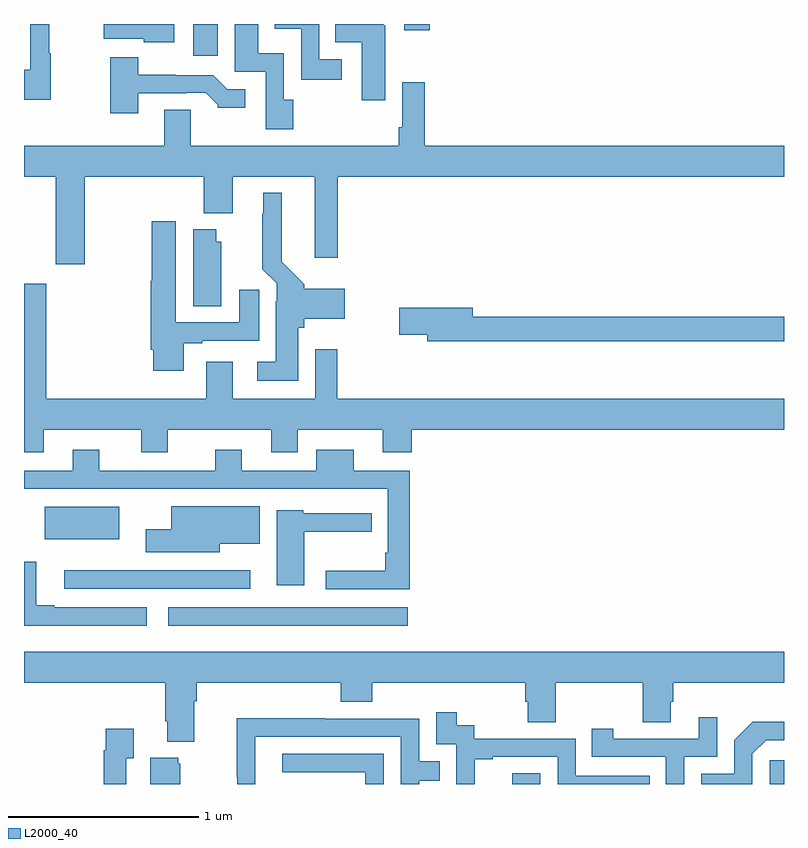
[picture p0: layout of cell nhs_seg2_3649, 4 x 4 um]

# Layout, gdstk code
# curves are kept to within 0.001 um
import gdstk
lib = gdstk.Library(unit=1e-6, precision=1e-09)
def R(c, l, rs):  # rectangles x0, y0, x1, y1
    for r in rs: c.add(gdstk.rectangle(r[:2], r[2:], *l))
def P(c, l, *ps):  # polygons
    for p in ps: c.add(gdstk.Polygon(p, *l))
L2000_40 = (2000, 40)

nhs_seg2_3649 = lib.new_cell('nhs_seg2_3649')
R(nhs_seg2_3649, L2000_40, [(305.571,617.8,305.718,617.857), (306.924,617.8,307,617.926), (303.759,618.632,305.02,618.729), (303.11,619.088,303.502,619.258), (303.89,621.633,304.021,621.8), (305,621.768,305.135,621.8)])
P(nhs_seg2_3649, L2000_40, [(304.672,621.615),(304.554,621.615),(304.554,621.8),(304.319,621.8),(304.319,621.776),(304.458,621.776),(304.458,621.507),(304.672,621.507)],
  [(304.9,621.79),(304.89,621.8),(304.639,621.8),(304.639,621.704),(304.778,621.704),(304.778,621.399),(304.9,621.399)],
  [(303.79,621.8),(303.42,621.8),(303.42,621.722),(303.63,621.722),(303.63,621.704),(303.79,621.704)],
  [(304.416,621.402),(304.368,621.402),(304.368,621.646),(304.234,621.646),(304.234,621.8),(304.109,621.8),(304.109,621.549),(304.272,621.549),(304.272,621.246),(304.416,621.246)],
  [(303.142,621.646),(303.134,621.646),(303.134,621.8),(303.033,621.8),(303.033,621.558),(303,621.558),(303,621.402),(303.142,621.402)],
  [(303.601,621.435),(303.857,621.435),(303.857,621.438),(303.956,621.438),(304.02,621.374),(304.02,621.359),(304.165,621.359),(304.165,621.456),(304.071,621.456),(303.996,621.531),(303.601,621.532),(303.601,621.625),(303.454,621.625),(303.454,621.33),(303.601,621.33)],
  [(303.321,620.996),(303.947,620.996),(303.947,620.804),(304.099,620.804),(304.099,620.996),(304.529,620.996),(304.529,620.571),(304.652,620.571),(304.652,620.996),(307,620.996),(307,621.16),(305.108,621.16),(305.108,621.493),(304.992,621.493),(304.992,621.256),(304.972,621.256),(304.972,621.16),(303.877,621.16),(303.877,621.35),(303.737,621.35),(303.737,621.16),(303,621.16),(303,620.996),(303.166,620.996),(303.166,620.535),(303.321,620.535)],
  [(304.444,620.202),(304.475,620.202),(304.475,620.249),(304.687,620.249),(304.687,620.407),(304.475,620.407),(304.475,620.43),(304.357,620.548),(304.357,620.911),(304.259,620.911),(304.259,620.801),(304.255,620.801),(304.255,620.51),(304.329,620.436),(304.329,620.342),(304.325,620.342),(304.325,620.023),(304.227,620.023),(304.227,619.922),(304.444,619.922)],
  [(303.841,620.121),(303.937,620.121),(303.937,620.133),(304.237,620.133),(304.237,620.401),(304.133,620.401),(304.133,620.229),(303.799,620.229),(303.799,620.761),(303.673,620.761),(303.673,620.448),(303.668,620.448),(303.668,620.086),(303.68,620.086),(303.68,619.974),(303.841,619.974)],
  [(304.039,620.655),(304.012,620.655),(304.012,620.719),(303.89,620.719),(303.89,620.314),(304.039,620.314)],
  [(303.103,619.664),(303.617,619.664),(303.617,619.547),(303.757,619.547),(303.757,619.664),(304.301,619.664),(304.301,619.547),(304.441,619.547),(304.441,619.664),(304.889,619.664),(304.889,619.547),(305.042,619.547),(305.042,619.664),(307,619.664),(307,619.828),(304.649,619.828),(304.649,620.089),(304.533,620.089),(304.533,619.828),(304.099,619.828),(304.099,620.023),(303.959,620.023),(303.959,619.828),(303.118,619.828),(303.118,620.434),(303,620.434),(303,619.547),(303.103,619.547)],
  [(307,620.258),(305.362,620.258),(305.362,620.306),(304.974,620.306),(304.974,620.164),(305.123,620.164),(305.123,620.13),(307,620.13)],
  [(305.03,619.449),(304.735,619.449),(304.735,619.558),(304.538,619.558),(304.538,619.449),(304.147,619.449),(304.147,619.558),(304.007,619.558),(304.007,619.449),(303.397,619.449),(303.397,619.558),(303.257,619.558),(303.257,619.449),(303,619.449),(303,619.353),(304.914,619.353),(304.914,619.018),(304.902,619.018),(304.902,618.923),(304.587,618.923),(304.587,618.825),(305.03,618.825)],
  [(304.03,619.064),(304.24,619.064),(304.24,619.261),(303.776,619.261),(303.776,619.141),(303.642,619.141),(303.642,619.019),(304.03,619.019)],
  [(304.474,619.127),(304.829,619.127),(304.829,619.224),(304.47,619.224),(304.47,619.24),(304.331,619.24),(304.331,618.846),(304.474,618.846)],
  [(303.646,618.729),(303.16,618.729),(303.16,618.742),(303.064,618.742),(303.064,618.97),(303,618.97),(303,618.632),(303.646,618.632)],
  [(304.192,618.924),(303.498,618.924),(303.498,618.925),(303.213,618.925),(303.213,618.828),(304.192,618.828)],
  [(303.895,618.236),(303.908,618.236),(303.908,618.332),(304.667,618.332),(304.667,618.233),(304.832,618.233),(304.832,618.332),(305.639,618.332),(305.639,618.234),(305.651,618.234),(305.651,618.124),(305.799,618.124),(305.799,618.332),(306.256,618.332),(306.256,618.124),(306.403,618.124),(306.403,618.234),(306.416,618.234),(306.416,618.332),(307,618.332),(307,618.496),(303,618.496),(303,618.332),(303.743,618.332),(303.743,618.13),(303.755,618.13),(303.755,618.023),(303.895,618.023)],
  [(305.372,617.931),(305.467,617.931),(305.467,617.943),(305.808,617.943),(305.808,617.8),(306.293,617.8),(306.293,617.844),(305.904,617.844),(305.904,618.039),(305.37,618.039),(305.37,618.108),(305.278,618.108),(305.278,618.178),(305.169,618.178),(305.169,618.009),(305.274,618.009),(305.274,617.8),(305.372,617.8)],
  [(306.474,617.943),(306.648,617.943),(306.648,618.151),(306.551,618.151),(306.551,618.039),(306.1,618.039),(306.1,618.091),(305.989,618.091),(305.989,617.943),(306.378,617.943),(306.378,617.8),(306.474,617.8)],
  [(304.218,618.048),(304.983,618.048),(304.983,617.8),(305.079,617.8),(305.079,617.818),(305.189,617.818),(305.189,617.919),(305.079,617.919),(305.079,618.144),(304.583,618.144),(304.583,618.146),(304.12,618.146),(304.12,617.839),(304.122,617.839),(304.122,617.8),(304.218,617.8)],
  [(306.834,617.958),(306.906,618.03),(307,618.03),(307,618.128),(306.836,618.128),(306.738,618.03),(306.738,617.853),(306.564,617.853),(306.564,617.8),(306.834,617.8)],
  [(303.537,617.935),(303.577,617.935),(303.577,618.091),(303.429,618.091),(303.429,617.978),(303.421,617.978),(303.421,617.8),(303.537,617.8)],
  [(304.893,617.958),(304.359,617.958),(304.359,617.862),(304.797,617.862),(304.797,617.8),(304.893,617.8)],
  [(303.823,617.907),(303.812,617.907),(303.812,617.938),(303.665,617.938),(303.665,617.8),(303.823,617.8)])

lib.write_gds('nhs_seg2_3649.gds')
